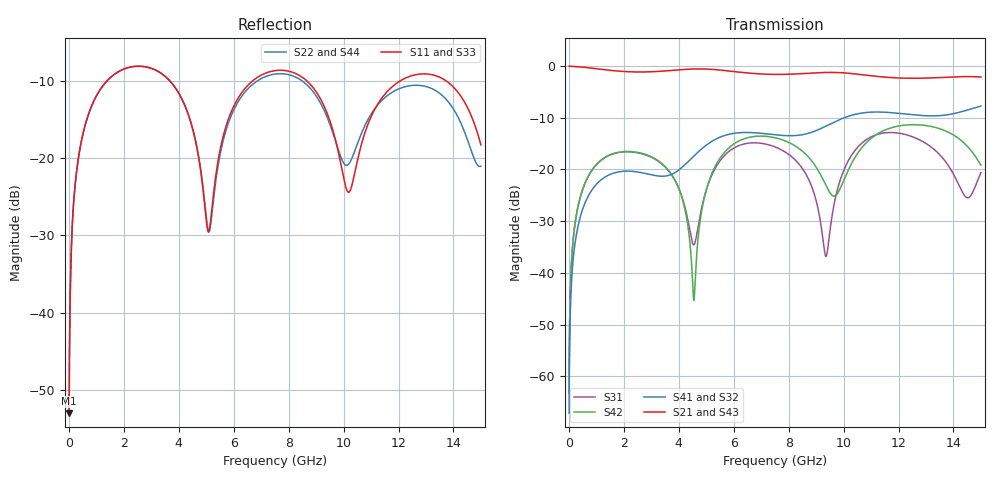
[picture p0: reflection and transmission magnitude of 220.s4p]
! Created with skrf 1.8.0 (http://scikit-rf.org).
# GHz S RI R 50.0
!freq ReS11 ImS11 ReS12 ImS12 ReS13 ImS13
! ReS14 ImS14
! ReS21 ImS21 ReS22 ImS22 ReS23 ImS23
! ReS24 ImS24
! ReS31 ImS31 ReS32 ImS32 ReS33 ImS33
! ReS34 ImS34
! ReS41 ImS41 ReS42 ImS42 ReS43 ImS43
! ReS44 ImS44
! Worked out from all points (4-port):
!   2499 points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, 5 MHz to 15 GHz, reference 50 ohm
!   strongest paths, dB at 5 MHz, 3.476 GHz, 7.19 GHz, 11.1 GHz, 15 GHz:
!     S21: 0.0, -0.9, -1.6, -1.9, -2.1
!     S43: 0.0, -0.9, -1.6, -1.9, -2.1
!     S41: -67.2, -21.3, -13.1, -8.9, -7.7
!     S32: -67.2, -21.4, -13.2, -8.9, -7.7
!     S42: -63.3, -19.3, -13.6, -13.6, -19.2
!     S31: -63.3, -19.4, -15.1, -13.5, -20.6
!   lowest |S11| = -53.1 dB at 5 MHz (marker M1), VSWR 1.00, Z = 50.2 + j0.135 ohm
!   |S11| at or under -10 dB: start of sweep to 1.371 GHz; 3.685 GHz to 6.671 GHz (2.986 GHz wide, 57.7 % of centre); 8.675 GHz to 12.04 GHz (3.364 GHz wide, 32.5 % of centre) (the widest 3 of 4)
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0.005  0.00176 0.00134  0.9982 -0.00344  8.83e-05 0.000679  -8.59e-05 -0.000429
       0.9982 -0.00344  0.00176 0.00134  -8.59e-05 -0.000429  8.83e-05 0.000678
       8.83e-05 0.000679  -8.59e-05 -0.000429  0.00176 0.00134  0.9982 -0.00344
       -8.59e-05 -0.000429  8.83e-05 0.000678  0.9982 -0.00344  0.00176 0.00134
0.3626511  0.0343 0.0999  0.9527 -0.2449  0.0158 0.0453  -0.0133 -0.0279
           0.9527 -0.2449  0.0342 0.0999  -0.0133 -0.0279  0.0161 0.0452
           0.0158 0.0453  -0.0133 -0.0279  0.0343 0.0999  0.9527 -0.2449
           -0.0133 -0.0279  0.0161 0.0452  0.9527 -0.2449  0.0342 0.0999
1.875782  0.3493 0.1252  0.3452 -0.8218  0.1439 0.029  -0.0917 0.0261
          0.3452 -0.8218  0.3486 0.1261  -0.0916 0.0258  0.1457 0.0249
          0.1439 0.029  -0.0916 0.0258  0.3494 0.125  0.3451 -0.8218
          -0.0917 0.0261  0.1457 0.0249  0.3451 -0.8218  0.3484 0.1262
4.545909  0.0732 -0.1246  -0.8575 -0.3791  -0.0179 -0.00515  -0.0497 0.1253
          -0.8575 -0.3791  0.0748 -0.1258  -0.0518 0.1244  -0.00529 -0.0011
          -0.0179 -0.00515  -0.0518 0.1244  0.0727 -0.1244  -0.8576 -0.379
          -0.0497 0.1253  -0.00529 -0.0011  -0.8576 -0.379  0.0749 -0.1254
7.753231  0.3716 -0.0266  -0.0547 0.8294  0.1496 -0.0364  0.206 -0.0564
          -0.0547 0.8294  0.3539 -0.00501  0.2055 -0.0507  0.1589 -0.1114
          0.1496 -0.0364  0.2055 -0.0507  0.3746 -0.0279  -0.0545 0.8286
          0.206 -0.0564  0.1589 -0.1114  -0.0545 0.8286  0.3546 -0.00319
10.51063  0.0809 0.055  0.8335 -0.0514  0.0501 0.1559  -0.049 -0.3421
          0.8335 -0.0514  0.1128 0.0541  -0.0384 -0.3429  0.0513 0.1337
          0.0501 0.1559  -0.0384 -0.3429  0.0817 0.055  0.8335 -0.051
          -0.049 -0.3421  0.0513 0.1337  0.8335 -0.051  0.1122 0.0509
15  0.0692 -0.1007  -0.71 -0.3328  0.0569 0.0737  -0.1581 0.379
    -0.71 -0.3328  0.088 0.0132  -0.1797 0.3689  -0.0973 -0.0512
    0.0569 0.0737  -0.1797 0.3689  0.0643 -0.1114  -0.7079 -0.3345
    -0.1581 0.379  -0.0973 -0.0512  -0.7079 -0.3345  0.1053 0.0116
